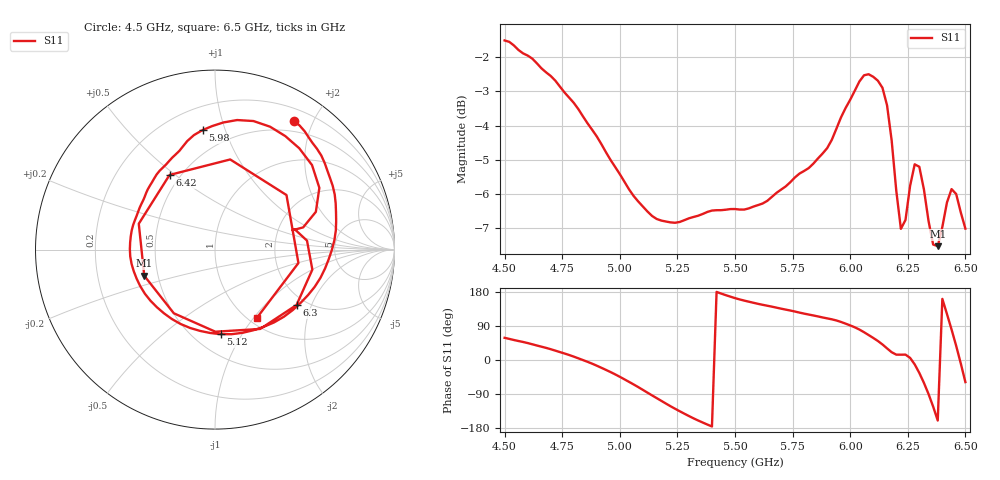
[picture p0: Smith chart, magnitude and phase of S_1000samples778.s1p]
! TOUCHSTONE file generated by CST MICROWAVE STUDIO
! Date and time: Sat Oct 29 08:35:02 2022
! Project name: L.cst
! Parameters = {Di=1.27; Epsilon_r=1.56; InnerDiameter=1.27; Length=2; Lf=10; Lg=60; OuterConductorThickness=0.2921; OuterDiameter=3.6; Wf=3; Wp=41.2; de=1.5; df=6.8; g=0.8; gx=2.98137; gy=1.06684; h=2.34; hf=1.524; px=12.5685; py=12.4929; w=9.7; wx=9.58709; wy=11.4261}
! Header version: 2018
! Port assignment regex: !\s*Touchstone port\s*([0-9]+)\s*=\s*(CST MWS port|CST DS port)\s*([0-9]+|Zmin|Zmax)\s*\(\"(.*)\"\)(\s*mode\s*([0-9]+))?.*
! Touchstone port assignment:
! Touchstone port 1 = CST MWS port 1 ("")
# GHz S DB R 50
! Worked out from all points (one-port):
!   101 points, 4.5 GHz to 6.5 GHz, reference 50 ohm
!   lowest |S11| = -7.5 dB at 6.38 GHz (marker M1), VSWR 2.45, Z = 21 - j7.42 ohm
!   |S11| at or under -10 dB: nowhere
!   S11 on the Smith chart (normalised r, x): 4.5 GHz: 0.35, +1.73; 5.12 GHz: 0.67, -0.81; 5.98 GHz: 0.35, +0.84; 6.3 GHz: 1.78, -1.57; 6.42 GHz: 0.44, +0.48; 6.5 GHz: 1.10, -1.04
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4.5  -1.51 58.5
4.76  -3.03 17.2
4.88  -4.12 -9.7
5  -5.42 -44.3
5.12  -6.52 -86.1
5.26  -6.82 -135.2
5.38  -6.53 -170.3
5.5  -6.44 163.3
5.76  -5.52 127.9
5.98  -3.49 96.0
6  -3.24 91.3
6.08  -2.50 65.8
6.16  -3.41 30.6
6.2  -5.91 14.1
6.22  -7.02 14.0
6.26  -5.76 5.6
6.28  -5.13 -11.6
6.3  -5.21 -34.2
6.32  -5.87 -60.3
6.34  -6.79 -89.7
6.36  -7.48 -122.9
6.38  -7.53 -159.7
6.4  -6.97 161.3
6.42  -6.25 121.3
6.44  -5.86 80.4
6.46  -6.00 37.4
6.48  -6.54 -9.1
6.5  -7.02 -58.3
